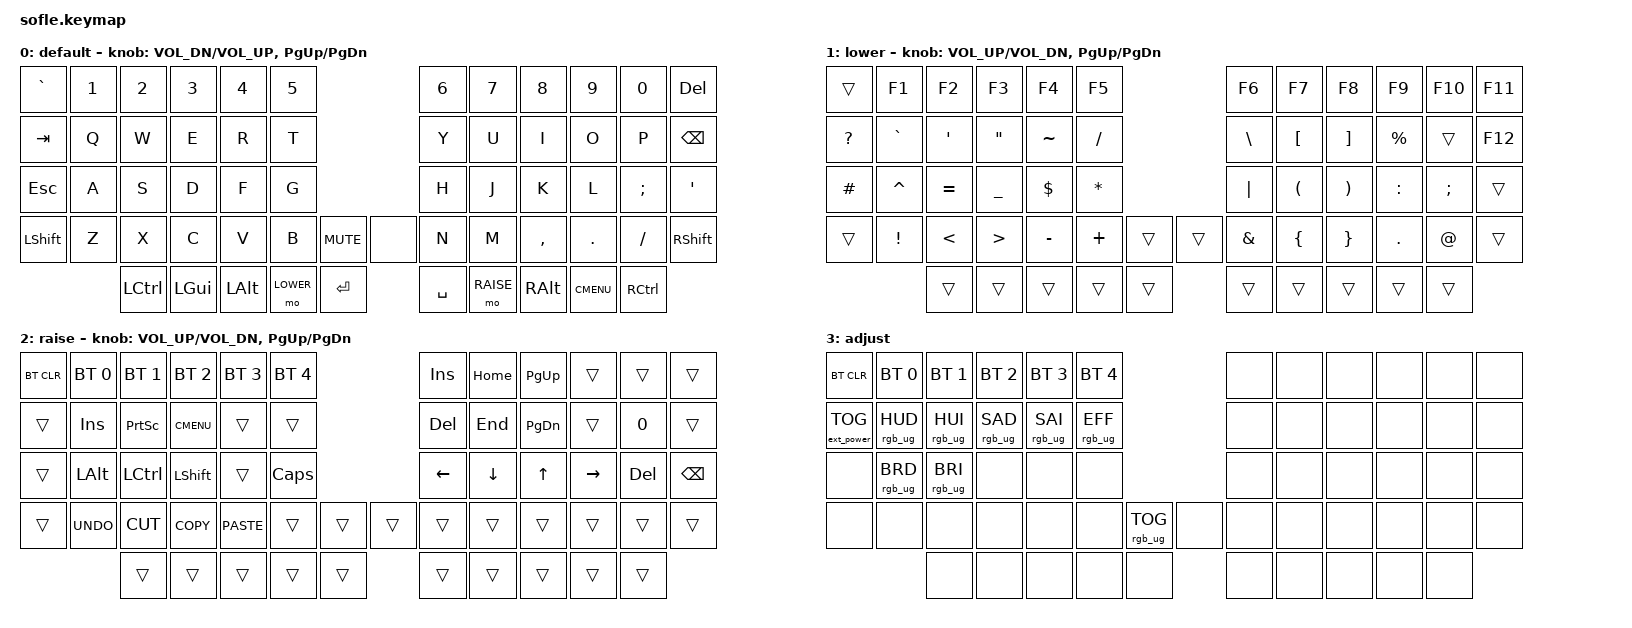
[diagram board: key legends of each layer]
/*
 * Copyright (c) 2020 The ZMK Contributors
 *
 * SPDX-License-Identifier: MIT
 */

#include <behaviors.dtsi>
#include <dt-bindings/zmk/keys.h>
#include <dt-bindings/zmk/bt.h>
#include <dt-bindings/zmk/rgb.h>
#include <dt-bindings/zmk/ext_power.h>

#define BASE 0
#define LOWER 1
#define RAISE 2
#define ADJUST 3

&led_strip {
    chain-length = <36>;
};

/ {

   // Activate ADJUST layer by pressing raise and lower
    conditional_layers {
        compatible = "zmk,conditional-layers";
        adjust_layer {
            if-layers = <LOWER RAISE>;
            then-layer = <ADJUST>;
        };
    };

    keymap {
        compatible = "zmk,keymap";

        default_layer {
            display-name = "default";
// ------------------------------------------------------------------------------------------------------------
// |   `   |  1  |  2  |  3   |  4   |  5   |                   |  6   |  7    |  8    |  9   |   0   | DEL   |
// |  TAB  |  Q  |  W  |  E   |  R   |  T   |                   |  Y   |  U    |  I    |  O   |   P   | BKSPC |
// |  ESC  |  A  |  S  |  D   |  F   |  G   |                   |  H   |  J    |  K    |  L   |   ;   |   '   |
// | SHIFT |  Z  |  X  |  C   |  V   |  B   |  MUTE  |  |       |  N   |  M    |  ,    |  .   |   /   | SHIFT |
//               | CTRL | GUI | ALT  | LOWER|  ENTER |  | SPACE | RAISE| ALT   | GUI   | CTRL |
            bindings = <
&kp GRAVE &kp N1 &kp N2   &kp N3   &kp N4    &kp N5                           &kp N6 &kp N7    &kp N8    &kp N9   &kp N0   &kp DEL
&kp TAB   &kp Q  &kp W    &kp E    &kp R     &kp T                            &kp Y  &kp U     &kp I     &kp O    &kp P    &kp BSPC
&kp ESC   &kp A  &kp S    &kp D    &kp F     &kp G                            &kp H  &kp J     &kp K     &kp L    &kp SEMI &kp SQT
&kp LSHFT &kp Z  &kp X    &kp C    &kp V     &kp B      &kp C_MUTE &none      &kp N  &kp M     &kp COMMA &kp DOT  &kp FSLH &kp RSHFT
                 &kp LCTRL &kp LGUI &kp LALT &mo LOWER  &kp RET    &kp SPACE  &mo RAISE  &kp RALT &kp K_CMENU  &kp RCTRL
            >;

            sensor-bindings = <&inc_dec_kp C_VOL_DN C_VOL_UP &inc_dec_kp PG_UP PG_DN>;
        };

        lower_layer {
            display-name = "lower";
// TODO: Some binds are waiting for shifted keycode support.
// ------------------------------------------------------------------------------------------------------------
// |       |  F1 |  F2 |  F3  |  F4  |  F5  |                   |  F6  |  F7   |  F8   |  F9  |  F10  |  F11  |
// |   ?   |  `  |  '  |  "   |  ~   |  /   |                   |  \   |  [    |  ]    |  %   |       |  F12  |
// |   #   |  ^  |  =  |  _   |  $   |  *   |                   |  |   |  (    |  )    |  :   |   :   |       |
// |       |  !  |  <  |  >   |  -   |  +   |        |  |       |  &   |  {    |  }    |  .   |   @   |       |
//               |     |      |      |      |        |  |       |      |       |       |      |
            bindings = <
&trans    &kp F1    &kp F2    &kp F3    &kp F4    &kp F5              &kp F6   &kp F7   &kp F8   &kp F9    &kp F10   &kp F11
&kp QMARK &kp GRAVE &kp SQT   &kp DQT   &kp TILDE &kp SLASH           &kp BSLH &kp LBKT &kp RBKT &kp PRCNT &trans &kp F12
&kp HASH  &kp CARET &kp EQUAL &kp UNDER &kp DLLR  &kp STAR            &kp PIPE &kp LPAR &kp RPAR &kp COLON &kp SEMI  &trans 
&trans    &kp EXCL &kp LT &kp GT &kp MINUS  &kp PLUS   &trans &trans  &kp AMPS  &kp LBRC &kp RBRC &kp DOT &kp AT  &trans
                    &trans    &trans      &trans    &trans     &trans &trans  &trans    &trans   &trans          &trans
            >;

            sensor-bindings = <&inc_dec_kp C_VOL_UP C_VOL_DN &inc_dec_kp PG_UP PG_DN>;
        };

        raise_layer {
            display-name = "raise";
// ------------------------------------------------------------------------------------------------------------
// | BTCLR | BT1  | BT2  |  BT3  |  BT4  |  BT5 |                |  INS | HOME |  PGUP |      |       |       |
// |       | INS  | PSCR | GUI   |       |      |                |  DEL |  END |  PGDN |      |       |       |
// |       | ALT  | CTRL | SHIFT |       | CAPS |                |  <-  |   v  |   ^   |  ->  |  DEL  | BKSPC |
// |       | UNDO | CUT  | COPY  | PASTE |      |      |  |      |      |      |       |      |       |       |
//                |      |       |       |      |      |  |      |      |      |       |      |
            bindings = <
&bt BT_CLR &bt BT_SEL 0 &bt BT_SEL 1 &bt BT_SEL 2 &bt BT_SEL 3 &bt BT_SEL 4                  &kp INS   &kp HOME  &kp PG_UP   &trans    &trans  &trans
&trans     &kp INS      &kp PSCRN    &kp K_CMENU  &trans       &trans                        &kp DEL   &kp END   &kp PG_DN   &trans    &kp N0  &trans
&trans     &kp LALT     &kp LCTRL    &kp LSHFT    &trans       &kp CLCK                      &kp LEFT  &kp DOWN  &kp UP      &kp RIGHT &kp DEL &kp BSPC
&trans     &kp K_UNDO   &kp K_CUT    &kp K_COPY   &kp K_PASTE  &trans        &trans  &trans  &trans    &trans    &trans   &trans    &trans  &trans
                        &trans       &trans       &trans       &trans        &trans  &trans  &trans    &trans    &trans   &trans
            >;

            sensor-bindings = <&inc_dec_kp C_VOL_UP C_VOL_DN &inc_dec_kp PG_UP PG_DN>;
        };

        adjust_layer {
// ----------------------------------------------------------------------------------------------------------------------------
// | BTCLR  |  BT1    |  BT2    |   BT3   |   BT4   |   BT5   |                  |      |      |       |      |       |       |
// | EXTPWR | RGB_HUD | RGB_HUI | RGB_SAD | RGB_SAI | RGB_EFF |                  |      |      |       |      |       |       |
// |        | RGB_BRD | RGB_BRI |         |         |         |                  |      |      |       |      |       |       |
// |        |         |         |         |         |         | RGB_TOG | |      |      |      |       |      |       |       |
//                    |         |         |         |         |         | |      |      |      |       |      |
            display-name = "adjust";
            bindings = <
&bt BT_CLR        &bt BT_SEL 0    &bt BT_SEL 1    &bt BT_SEL 2    &bt BT_SEL 3    &bt BT_SEL 4                            &none &none &none &none &none &none
&ext_power EP_TOG &rgb_ug RGB_HUD &rgb_ug RGB_HUI &rgb_ug RGB_SAD &rgb_ug RGB_SAI &rgb_ug RGB_EFF                         &none &none &none &none &none &none
&none             &rgb_ug RGB_BRD &rgb_ug RGB_BRI &none           &none           &none                                   &none &none &none &none &none &none
&none             &none           &none           &none           &none           &none            &rgb_ug RGB_TOG &none  &none &none &none &none &none &none
                                  &none           &none           &none           &none            &none           &none  &none &none &none &none
            >;
        };

    };
};
